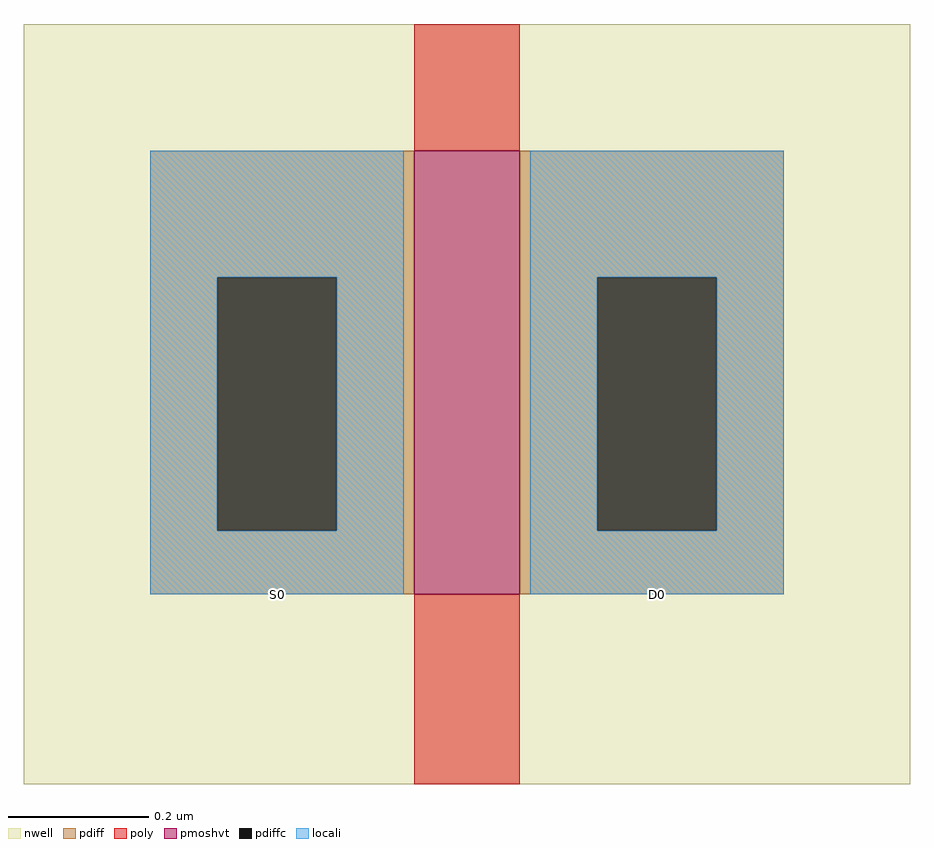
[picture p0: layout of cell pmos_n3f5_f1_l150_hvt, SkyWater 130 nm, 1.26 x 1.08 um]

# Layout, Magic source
magic
tech sky130A
magscale 1 2
<< nwell >>
rect -72 -36 180 180
<< pmoshvt >>
rect 39 18 69 144
<< pdiff >>
rect -36 108 39 144
rect -36 36 -17 108
rect 17 36 39 108
rect -36 18 39 36
rect 69 108 144 144
rect 69 36 91 108
rect 125 36 144 108
rect 69 18 144 36
<< pdiffc >>
rect -17 36 17 108
rect 91 36 125 108
<< poly >>
rect 39 144 69 180
rect 39 -36 69 18
<< locali >>
rect -36 108 36 144
rect -36 36 -17 108
rect 17 36 36 108
rect -36 18 36 36
rect 72 108 144 144
rect 72 36 91 108
rect 125 36 144 108
rect 72 18 144 36
<< labels >>
rlabel locali 0 18 0 18 0 S0
port 1 nsew
rlabel locali 108 18 108 18 0 D0
port 2 nsew
<< end >>
